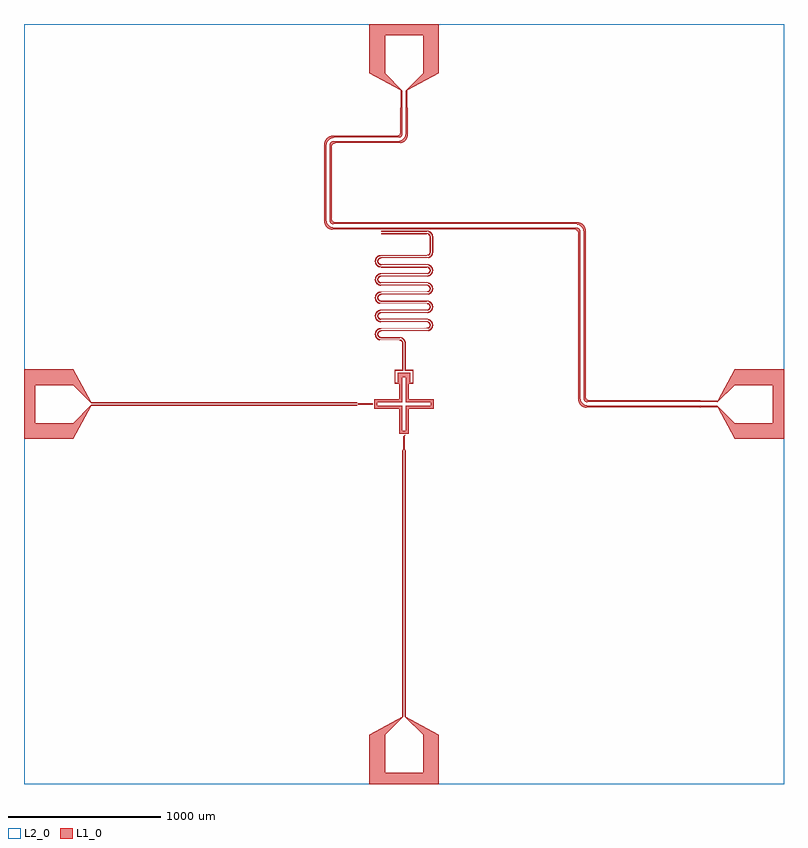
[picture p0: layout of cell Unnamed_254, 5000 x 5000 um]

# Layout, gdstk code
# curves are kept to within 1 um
import gdstk
lib = gdstk.Library(unit=1e-6, precision=1e-09)
def R(c, l, rs):  # rectangles x0, y0, x1, y1
    for r in rs: c.add(gdstk.rectangle(r[:2], r[2:], *l))
def P(c, l, *ps):  # polygons
    for p in ps: c.add(gdstk.Polygon(p, *l))
L1_0 = (1, 0)
L2_0 = (2, 0)

unnamed_254 = lib.new_cell('Unnamed_254')
P(unnamed_254, L1_0, [(-228,-2500),(-228,-2177),(-10,-2057),(-10,-308),(-4,-298),(-5,-211),(-2,-211),(-2,-298),(-5,-308),(-5,-2057),(-125,-2177),(-125,-2427),(125,-2427),(125,-2177),(5,-2057),(5,-308),(2,-298),(2,-207),(-11,-207),(-11,-205),(13,-205),(13,-207),(4,-207),(4,-298),(10,-308),(10,-2057),(228,-2177),(228,-2500)],
  [(-32,-195),(-32,-32),(-195,-32),(-195,32),(-32,32),(-32,175),(-12,175),(-12,12),(-175,12),(-175,-12),(-12,-12),(-12,-175),(12,-175),(12,-12),(175,-12),(175,12),(12,12),(12,175),(-32,175),(-32,195),(32,195),(32,32),(195,32),(195,-32),(32,-32),(32,-195)],
  [(-2500,-228),(-2500,125),(-2427,125),(-2427,-125),(-2177,-125),(-2057,-5),(-312,-5),(-301.5,-2.5),(-208,-2.5),(-208,2.5),(-301.5,2.5),(-312,5),(-2057,5),(-2177,125),(-2500,125),(-2500,228),(-2177,228),(-2057.55,11),(-312,11),(-301.5,5.5),(-205,5.5),(-205,-5.5),(-301.5,-5.5),(-312,-11),(-2057.55,-11),(-2177,-228)],
  [(-61,134),(-61,224),(-11.002,224),(-11.002,398.956),(-12.148,405.498),(-14.525,410.021),(-18.257,413.935),(-22.941,416.639),(-28.196,417.914),(-151.303,418.019),(-159.035,419.006),(-166.441,421.438),(-174.312,425.983),(-180.989,432.15),(-186.143,439.636),(-189.154,446.826),(-190.751,454.455),(-190.751,463.545),(-189.154,471.174),(-185.51,479.501),(-180.121,486.82),(-172.169,493.493),(-162.796,497.954),(-152.602,499.919),(152.403,500.154),(160.269,503.017),(165.816,508.476),(168.708,515.701),(168.31,524.063),(165.816,529.524),(161.742,533.934),(156.496,536.853),(150.601,537.989),(-150.089,538),(-157.762,538.74),(-166.441,541.438),(-174.312,545.983),(-180.989,552.15),(-186.143,559.636),(-189.521,568.074),(-190.957,577.049),(-190.134,587.397),(-187.298,596.033),(-181.825,604.854),(-173.252,612.772),(-164.025,617.529),(-152.602,619.919),(152.403,620.154),(159.757,622.7),(165.474,627.98),(168.594,635.109),(168.594,642.891),(166.451,648.499),(162.666,653.159),(157.059,656.638),(151.203,657.96),(-150.089,658),(-157.762,658.74),(-166.441,661.438),(-174.312,665.983),(-180.989,672.15),(-186.143,679.636),(-189.521,688.074),(-190.957,697.049),(-190.586,704.835),(-188.303,713.633),(-183.401,722.783),(-175.347,731.229),(-166.441,736.562),(-155.192,739.672),(151.203,740.04),(158.704,742.113),(164.744,747.02),(168.31,753.937),(168.708,762.299),(166.451,768.499),(162.666,773.159),(157.059,776.638),(151.203,777.96),(-150.089,778),(-157.762,778.74),(-166.441,781.438),(-173.252,785.228),(-180.121,791.18),(-184.842,797.383),(-188.748,805.59),(-190.751,814.455),(-190.751,823.545),(-189.154,831.174),(-184.139,841.711),(-176.357,850.409),(-166.441,856.562),(-155.192,859.672),(151.203,860.04),(158.704,862.113),(164.744,867.02),(168.31,873.937),(168.803,881.704),(167.021,887.437),(163.109,892.75),(157.615,896.405),(151.203,897.96),(-150.089,898),(-157.762,898.74),(-165.241,900.936),(-172.169,904.507),(-178.296,909.326),(-184.139,916.289),(-187.82,923.159),(-190.38,931.88),(-190.957,940.951),(-189.848,948.666),(-184.842,960.617),(-176.357,970.409),(-166.441,976.562),(-153.899,979.816),(149.954,980),(157.338,981.476),(161.743,984.065),(165.298,987.735),(167.746,992.219),(168.912,997.194),(168.912,1100.806),(167.153,1107.166),(163.326,1112.541),(157.891,1116.283),(151.504,1117.94),(-150.002,1118),(-150.002,1124),(151.584,1123.95),(160.021,1121.903),(167.535,1116.817),(172.571,1109.745),(174.885,1101.376),(174.844,996.229),(173.352,990.078),(170.13,984.177),(165.762,979.596),(160.021,976.097),(150.395,974.003),(-153.329,973.842),(-164.035,971.064),(-172.5,965.812),(-179.743,957.453),(-184.016,947.252),(-184.963,940.665),(-184.471,932.922),(-182.698,926.509),(-179.743,920.547),(-174.947,914.448),(-169.849,910.171),(-164.035,906.936),(-156.626,904.632),(-150.042,904),(151.584,903.949),(160.021,901.902),(167.25,897.093),(172.034,890.806),(174.743,882.558),(174.293,873.106),(169.892,863.86),(162.84,857.551),(153.948,854.315),(-152.222,853.93),(-161.973,851.89),(-171.638,846.512),(-178.513,839.302),(-183.424,829.392),(-184.893,821.774),(-184.787,815.121),(-183.078,807.552),(-179.743,800.547),(-174.947,794.448),(-169.849,790.171),(-164.035,786.936),(-156.626,784.632),(-150.042,784),(151.584,783.949),(159.289,782.209),(166.667,777.631),(171.648,771.5),(174.618,763.341),(174.293,753.106),(170.362,744.499),(163.514,737.969),(153.948,734.315),(-152.222,733.93),(-161.973,731.89),(-170.754,727.185),(-177.854,720.197),(-182.698,711.491),(-184.646,703.981),(-184.893,696.226),(-183.737,689.673),(-180.853,682.47),(-176.454,676.079),(-170.754,670.815),(-164.035,666.936),(-156.626,664.632),(-150.042,664),(151.584,663.949),(159.289,662.209),(166.067,658.151),(171.241,652.18),(174.467,644.12),(174.467,633.88),(170.362,624.499),(162.84,617.551),(153.163,614.202),(-152.222,613.93),(-161.973,611.89),(-169.849,607.829),(-176.454,601.921),(-181.84,593.54),(-184.261,586.168),(-184.998,578.445),(-184.016,570.748),(-181.362,563.457),(-176.454,556.079),(-170.754,550.815),(-164.035,546.936),(-156.626,544.632),(-150.042,544),(151.584,543.949),(159.289,542.209),(165.452,538.651),(170.812,532.848),(174.093,525.662),(174.969,520.19),(174.618,514.659),(170.812,505.152),(163.514,497.969),(158.548,495.508),(153.163,494.202),(-152.222,493.93),(-159.863,492.583),(-167.981,489.03),(-174.947,483.552),(-180.313,476.5),(-183.424,469.392),(-184.893,461.774),(-184.787,455.121),(-183.078,447.552),(-179.743,440.547),(-174.947,434.448),(-168.925,429.556),(-163.01,426.507),(-151.112,424.017),(-26.837,423.799),(-20.343,422.059),(-14.238,418.404),(-9.638,413.501),(-6.51,407.55),(-5.005,399.397),(-5.002,219),(-56,219),(-56,139),(-41,139),(-41,204),(41,204),(41,139),(56,139),(56,219),(4.998,219),(4.994,399.555),(3.073,410.447),(-1.173,418.847),(-7.504,425.812),(-15.462,430.837),(-24.472,433.561),(-149.962,434),(-158.552,435.508),(-163.518,437.969),(-167.819,441.464),(-171.245,445.82),(-173.626,450.824),(-174.847,456.229),(-174.847,461.771),(-173.626,467.176),(-171.245,472.18),(-167.254,477.093),(-162.157,480.846),(-157.045,482.987),(-150.795,483.987),(155.528,484.439),(161.969,486.11),(168.921,489.556),(174.943,494.448),(179.138,499.612),(182.694,506.509),(184.467,512.922),(184.959,520.665),(184.012,527.252),(179.739,537.453),(172.496,545.812),(164.031,551.064),(153.325,553.842),(-153.952,554.315),(-159.293,555.791),(-164.824,558.869),(-168.895,562.629),(-172.038,567.194),(-174.097,572.338),(-174.973,577.81),(-174.622,583.341),(-172.742,589.385),(-168.895,595.371),(-163.518,600.031),(-157.045,602.987),(-150.795,603.987),(155.528,604.439),(161.969,606.11),(167.977,608.97),(173.335,612.915),(178.509,618.698),(181.836,624.46),(184.257,631.832),(184.994,638.445),(184.257,646.168),(180.309,656.5),(173.335,665.085),(164.031,671.064),(153.325,673.842),(-153.952,674.315),(-159.293,675.791),(-164.178,678.409),(-168.366,682.038),(-171.652,686.5),(-173.874,691.577),(-174.923,697.019),(-174.747,702.558),(-173.355,707.922),(-169.896,714.14),(-164.824,719.131),(-158.552,722.492),(-151.588,723.949),(155.528,724.439),(161.969,726.11),(167.977,728.97),(173.335,732.915),(178.509,738.698),(181.836,744.46),(184.257,751.832),(184.994,758.445),(184.467,765.078),(180.849,775.53),(173.335,785.085),(164.031,791.064),(153.325,793.842),(-153.952,794.315),(-163.518,797.969),(-167.819,801.464),(-171.245,805.82),(-174.747,815.442),(-174.923,820.981),(-173.874,826.423),(-170.816,832.848),(-165.456,838.651),(-159.293,842.209),(-151.588,843.949),(155.528,844.439),(161.969,846.11),(167.977,848.97),(173.335,852.915),(178.509,858.698),(181.836,864.46),(184.012,870.748),(184.959,877.335),(184.642,883.981),(181.358,894.543),(174.151,904.331),(165.041,910.603),(153.325,913.842),(-153.952,914.315),(-163.518,917.969),(-170.816,925.152),(-174.622,934.659),(-174.297,944.894),(-171.245,952.18),(-166.071,958.151),(-159.293,962.209),(-151.588,963.949),(150.553,964.004),(157.709,964.86),(164.031,966.936),(171.634,971.488),(177.51,977.364),(182.062,984.967),(184.559,993.47),(184.84,1102.327),(181.601,1114.043),(174.942,1123.552),(165.041,1130.603),(153.877,1133.785),(-150.002,1134),(-150.002,1140),(150.042,1140),(159.031,1138.993),(171.059,1134.178),(180.984,1125.85),(187.815,1114.84),(190.916,1101.6),(190.581,993.165),(188.298,984.368),(184.134,976.289),(178.291,969.327),(171.059,963.822),(161.549,959.66),(150.649,958.005),(-151.207,957.96),(-157.063,956.638),(-162.67,953.159),(-166.455,948.499),(-168.598,942.891),(-168.598,935.109),(-165.12,927.494),(-158.708,922.113),(-151.207,920.04),(156.476,919.486),(168.786,915.443),(179.219,907.761),(186.735,897.207),(190.582,884.835),(190.953,877.049),(189.844,869.334),(187.294,861.967),(183.397,855.217),(178.292,849.326),(172.165,844.507),(164.021,840.471),(156.476,838.514),(-150.605,837.989),(-156.5,836.853),(-161.266,834.299),(-165.478,830.02),(-167.956,825.214),(-168.884,816.894),(-166.146,808.983),(-160.273,803.017),(-151.808,800.087),(156.476,799.486),(168.786,795.443),(179.219,787.761),(186.735,777.207),(190.582,764.835),(190.953,757.049),(189.844,749.334),(187.294,741.967),(183.397,735.217),(178.292,729.326),(172.165,724.507),(164.021,720.471),(156.476,718.514),(-150.605,717.989),(-155.93,717.05),(-160.775,714.649),(-164.748,710.98),(-167.75,705.78),(-168.884,696.894),(-166.146,688.983),(-160.273,683.017),(-151.808,680.087),(156.476,679.486),(167.62,676.021),(178.292,668.674),(186.139,658.364),(190.376,646.12),(190.953,637.049),(189.844,629.334),(187.294,621.967),(183.397,615.217),(178.292,609.326),(172.165,604.507),(164.021,600.471),(156.476,598.514),(-150.605,597.989),(-155.355,597.229),(-160.273,594.983),(-163.958,591.891),(-167.025,587.437),(-168.598,582.891),(-168.979,578.096),(-166.455,569.501),(-160.273,563.017),(-151.808,560.087),(156.476,559.486),(167.62,556.021),(177.336,549.557),(184.838,540.617),(189.844,528.666),(190.953,520.951),(190.376,511.88),(187.816,503.159),(184.135,496.289),(178.292,489.326),(172.165,484.507),(164.021,480.471),(156.476,478.514),(-150.605,477.989),(-159.239,475.602),(-163.113,472.75),(-166.146,469.017),(-168.884,461.106),(-167.75,452.22),(-163.113,445.25),(-155.93,440.95),(-149.915,440),(-22.882,439.377),(-12.38,436.02),(-3.152,429.986),(4.134,421.711),(9.149,411.174),(10.993,399.651),(10.998,224),(61,224),(61,134),(36,134),(36,199),(-36,199),(-36,134)],
  [(2177,-228),(2063.605,-22),(1950,-22),(1950,-26),(1213.865,-25.946),(1196.271,-24.196),(1181.817,-19.593),(1168.724,-11.514),(1158.194,-0.617),(1152.311,8.918),(1148.198,19.54),(1145.019,45.02),(1144.109,1135.983),(1159.337,1135.983),(1159.955,1127.321),(1160.011,45.891),(1162.428,24.345),(1170.186,8.393),(1178.554,-0.168),(1188.837,-6.298),(1200.342,-9.703),(1214.768,-10.961),(2062,-10),(2177,-125),(2427,-125),(2427,125),(2177,125),(2062,10),(1216.562,11.015),(1200.319,12.89),(1189.761,19.285),(1183.723,29.884),(1182.006,46.714),(1181.488,1135.983),(1196.55,1135.983),(1197.002,47.666),(1197.597,36.568),(1199.642,30.79),(1205.043,27.135),(1216.839,26.013),(1950,26),(1950,22),(2063.605,22),(2177,228),(2500,228),(2500,-228)],
  [(1181.488,1135.983),(1176.567,1154.77),(1165.478,1169.471),(1149.747,1178.619),(1129.399,1181.906),(-452.898,1182.004),(-470.02,1183.696),(-480.715,1189.761),(-487.167,1200.506),(-488.994,1217.714),(-488.985,1694.438),(-487.919,1707.45),(-484.526,1716.476),(-474.446,1725.639),(-459.12,1728.86),(-42.907,1729.057),(-23.533,1731.658),(-8.393,1739.186),(-0.497,1746.729),(5.413,1755.912),(9.029,1766.128),(10.772,1778.643),(10,2062),(125,2177),(125,2427),(-228,2427),(-228,2500),(228,2500),(228,2177),(22,2063.605),(22,1950),(26,1950),(25.656,1776.374),(23.093,1760.581),(17.609,1746.845),(9.079,1734.886),(-2.245,1725.169),(-19.749,1717.138),(-40.943,1714.108),(-454.513,1713.983),(-466.007,1712.851),(-471.358,1709.21),(-473.369,1703.642),(-473.995,1693.078),(-473.999,1219.044),(-473.187,1206.377),(-470.246,1200.503),(-464.244,1197.738),(-451.956,1197.001),(1130.877,1196.862),(1146.532,1195.03),(1159.756,1190.785),(1171.617,1183.806),(1181.922,1174),(1192.03,1156.752),(1196.55,1135.983)],
  [(1144.109,1135.983),(1142.211,1140.41),(1138.647,1143.262),(1124.443,1144.993),(-455.893,1145.031),(-470.997,1146.149),(-483.832,1149.268),(-495.385,1154.669),(-505.8,1162.556),(-514.831,1173.245),(-521.193,1185.676),(-524.761,1199.423),(-525.981,1216.02),(-525.922,1698.088),(-522.294,1722.139),(-512.239,1741.36),(-502.82,1751.071),(-491.291,1758.585),(-478.385,1763.365),(-463.626,1765.656),(-44.12,1766.039),(-31.813,1768.005),(-28.56,1770.906),(-26.878,1775.075),(-26,1950),(-22,1950),(-22,2063.605),(-228,2177),(-228,2427),(-125,2427),(-125,2177),(-10,2062),(-11.006,1786.714),(-12.165,1772.143),(-15.378,1763.682),(-21.167,1757.114),(-28.49,1753.157),(-38.421,1751.294),(-459.278,1750.874),(-471.778,1749.489),(-482.648,1746.085),(-492.028,1740.493),(-499.838,1732.86),(-508.097,1717.281),(-510.943,1697.093),(-510.989,1216.891),(-510.112,1202.878),(-507.39,1191.601),(-502.634,1181.998),(-495.522,1173.481),(-487.352,1167.343),(-477.77,1163.057),(-454.109,1160.011),(1127.321,1159.955),(1144.009,1157.283),(1154.661,1148.793),(1159.337,1135.983)])
R(unnamed_254, L2_0, [(-2500,-2500,2500,2500)])

lib.write_gds('Unnamed_254.gds')
